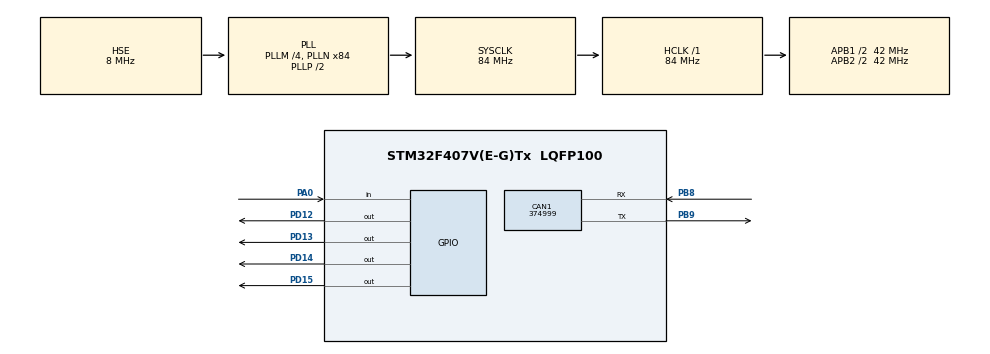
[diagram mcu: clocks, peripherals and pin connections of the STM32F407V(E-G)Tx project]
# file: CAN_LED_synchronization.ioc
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CAN1.BS1=CAN_BS1_4TQ
CAN1.BS2=CAN_BS2_2TQ
CAN1.CalculateBaudRate=374999
CAN1.CalculateTimeBit=2666
CAN1.CalculateTimeQuantum=380.95238095238096
Mcu.Family=STM32F4
Mcu.Name=STM32F407V(E-G)Tx
Mcu.Package=LQFP100
NVIC.CAN1_RX0_IRQn=true\:0\:0\:false\:false\:true\:true\:true\:true
NVIC.PriorityGroup=NVIC_PRIORITYGROUP_0
PA0-WKUP.Signal=GPIO_Input
PB8.Mode=CAN_Activate
PB8.Signal=CAN1_RX
PB9.Mode=CAN_Activate
PB9.Signal=CAN1_TX
PD12.Signal=GPIO_Output
PD13.Signal=GPIO_Output
PD14.Signal=GPIO_Output
PD15.Signal=GPIO_Output
PH0-OSC_IN.Mode=HSE-External-Oscillator
PH0-OSC_IN.Signal=RCC_OSC_IN
PH1-OSC_OUT.Mode=HSE-External-Oscillator
PH1-OSC_OUT.Signal=RCC_OSC_OUT
ProjectManager.HeapSize=0x200
ProjectManager.StackSize=0x400
ProjectManager.TargetToolchain=MDK-ARM V5
RCC.48MHZClocksFreq_Value=24000000
RCC.AHBFreq_Value=84000000
RCC.APB1CLKDivider=RCC_HCLK_DIV2
RCC.APB1Freq_Value=42000000
RCC.APB1TimFreq_Value=84000000
RCC.APB2CLKDivider=RCC_HCLK_DIV2
RCC.APB2Freq_Value=42000000
RCC.APB2TimFreq_Value=84000000
RCC.CortexFreq_Value=84000000
RCC.HCLKFreq_Value=84000000
RCC.HSE_VALUE=8000000
RCC.HSI_VALUE=16000000
RCC.PLLM=4
RCC.PLLN=84
RCC.PLLQ=7
RCC.PLLSourceVirtual=RCC_PLLSOURCE_HSE
RCC.SYSCLKFreq_VALUE=84000000
RCC.SYSCLKSource=RCC_SYSCLKSOURCE_PLLCLK
RCC.VCOOutputFreq_Value=168000000
board=STM32F407G-DISC1

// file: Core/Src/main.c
/* USER CODE BEGIN Header */
/**
  ******************************************************************************
  * @file           : main.c
  * @brief          : Main program body
  ******************************************************************************
  * @attention
  *
  * Copyright (c) 2025 STMicroelectronics.
  * All rights reserved.
  *
  * This software is licensed under terms that can be found in the LICENSE file
  * in the root directory of this software component.
  * If no LICENSE file comes with this software, it is provided AS-IS.
  *
  ******************************************************************************
  */
/* USER CODE END Header */
#include "main.h"
#include "stm32f4xx_hal.h"

CAN_HandleTypeDef hcan1;

/* USER CODE BEGIN PV */
/* Private variables ---------------------------------------------------------*/
// NEW: Updated Tx and Rx structures for newer HAL
static CAN_TxHeaderTypeDef TxHeader;
static CAN_RxHeaderTypeDef RxHeader;
static uint8_t TxData[8];
static uint8_t RxData[8];

//Own and Remote IDs
uint16_t OwnID = 0x123;
uint16_t RemoteID = 0x124;

uint8_t myLEDVar = 0;
/* USER CODE END PV */

void SystemClock_Config(void);
static void MX_GPIO_Init(void);
static void MX_CAN1_Init(void);

/* USER CODE BEGIN PFP */
/* Private function prototypes -----------------------------------------------*/
void CAN_filterConfig(void);
void LED_Switch(uint8_t led);
/* USER CODE END PFP */

int main(void)
{

  /* MCU Configuration----------------------------------------------------------*/

  /* Reset of all peripherals, Initializes the Flash interface and the Systick. */
  HAL_Init();

  /* Configure the system clock */
  SystemClock_Config();

  /* Initialize all configured peripherals */
  MX_GPIO_Init();
  MX_CAN1_Init();

  /* USER CODE BEGIN 2 */
	//Filter Config
	CAN_filterConfig();

	// NEW: Start CAN and enable interrupts (replaces HAL_CAN_Receive_IT)
	HAL_CAN_Start(&hcan1);
	HAL_CAN_ActivateNotification(&hcan1, CAN_IT_RX_FIFO0_MSG_PENDING);

	// NEW: Configure transmit header (replaces pTxMsg assignments)
	TxHeader.StdId = OwnID;
	TxHeader.ExtId = 0;
	TxHeader.RTR = CAN_RTR_DATA;
	TxHeader.IDE = CAN_ID_STD;
	TxHeader.DLC = 2;
	TxHeader.TransmitGlobalTime = DISABLE;

  /* USER CODE END 2 */

  /* Infinite loop */
  while (1)
  {

  /* USER CODE BEGIN 3 */
		if(HAL_GPIO_ReadPin(GPIOA, GPIO_PIN_0) == GPIO_PIN_SET)
		{
			//Transmit CAN packet
			if(myLEDVar == 4) myLEDVar=0;
			LED_Switch(++myLEDVar);

			// NEW: Prepare data and transmit using new API
			TxData[0] = myLEDVar;
			TxData[1] = 0x12;

			uint32_t TxMailbox;
			HAL_CAN_AddTxMessage(&hcan1, &TxHeader, TxData, &TxMailbox);

			HAL_Delay(200);
		}

  }
  /* USER CODE END 3 */

}

/** System Clock Configuration
*/
void SystemClock_Config(void)
{

  RCC_OscInitTypeDef RCC_OscInitStruct;
  RCC_ClkInitTypeDef RCC_ClkInitStruct;

    /**Configure the main internal regulator output voltage
    */
  __HAL_RCC_PWR_CLK_ENABLE();

  __HAL_PWR_VOLTAGESCALING_CONFIG(PWR_REGULATOR_VOLTAGE_SCALE1);

    /**Initializes the CPU, AHB and APB busses clocks
    */
  RCC_OscInitStruct.OscillatorType = RCC_OSCILLATORTYPE_HSE;
  RCC_OscInitStruct.HSEState = RCC_HSE_ON;
  RCC_OscInitStruct.PLL.PLLState = RCC_PLL_ON;
  RCC_OscInitStruct.PLL.PLLSource = RCC_PLLSOURCE_HSE;
  RCC_OscInitStruct.PLL.PLLM = 4;
  RCC_OscInitStruct.PLL.PLLN = 84;
  RCC_OscInitStruct.PLL.PLLP = RCC_PLLP_DIV2;
  RCC_OscInitStruct.PLL.PLLQ = 7;
  if (HAL_RCC_OscConfig(&RCC_OscInitStruct) != HAL_OK)
  {
    Error_Handler();
  }

    /**Initializes the CPU, AHB and APB busses clocks
    */
  RCC_ClkInitStruct.ClockType = RCC_CLOCKTYPE_HCLK|RCC_CLOCKTYPE_SYSCLK
                              |RCC_CLOCKTYPE_PCLK1|RCC_CLOCKTYPE_PCLK2;
  RCC_ClkInitStruct.SYSCLKSource = RCC_SYSCLKSOURCE_PLLCLK;
  RCC_ClkInitStruct.AHBCLKDivider = RCC_SYSCLK_DIV1;
  RCC_ClkInitStruct.APB1CLKDivider = RCC_HCLK_DIV2;
  RCC_ClkInitStruct.APB2CLKDivider = RCC_HCLK_DIV2;

  if (HAL_RCC_ClockConfig(&RCC_ClkInitStruct, FLASH_LATENCY_2) != HAL_OK)
  {
    Error_Handler();
  }

    /**Configure the Systick interrupt time
    */
  HAL_SYSTICK_Config(HAL_RCC_GetHCLKFreq()/1000);

    /**Configure the Systick
    */
  HAL_SYSTICK_CLKSourceConfig(SYSTICK_CLKSOURCE_HCLK);

  /* SysTick_IRQn interrupt configuration */
  HAL_NVIC_SetPriority(SysTick_IRQn, 0, 0);
}

/* CAN1 init function */
static void MX_CAN1_Init(void)
{
  hcan1.Instance = CAN1;
  hcan1.Init.Prescaler = 16;
  hcan1.Init.Mode = CAN_MODE_NORMAL;

  // NEW: Updated bit timing configuration for newer HAL versions
  hcan1.Init.SyncJumpWidth = CAN_SJW_1TQ;
  hcan1.Init.TimeSeg1 = CAN_BS1_4TQ;
  hcan1.Init.TimeSeg2 = CAN_BS2_2TQ;

  hcan1.Init.TimeTriggeredMode = DISABLE;
  hcan1.Init.AutoBusOff = DISABLE;
  hcan1.Init.AutoWakeUp = DISABLE;
  hcan1.Init.AutoRetransmission = DISABLE;
  hcan1.Init.ReceiveFifoLocked = DISABLE;
  hcan1.Init.TransmitFifoPriority = DISABLE;

  if (HAL_CAN_Init(&hcan1) != HAL_OK)
  {
    Error_Handler();
  }
}

/** Configure pins as
        * Analog
        * Input
        * Output
        * EVENT_OUT
        * EXTI
*/
static void MX_GPIO_Init(void)
{

  GPIO_InitTypeDef GPIO_InitStruct;

  /* GPIO Ports Clock Enable */
  __HAL_RCC_GPIOH_CLK_ENABLE();
  __HAL_RCC_GPIOA_CLK_ENABLE();
  __HAL_RCC_GPIOD_CLK_ENABLE();
  __HAL_RCC_GPIOB_CLK_ENABLE();

  /*Configure GPIO pin Output Level */
  HAL_GPIO_WritePin(GPIOD, GPIO_PIN_12|GPIO_PIN_13|GPIO_PIN_14|GPIO_PIN_15, GPIO_PIN_RESET);

  /*Configure GPIO pin : PA0 */
  GPIO_InitStruct.Pin = GPIO_PIN_0;
  GPIO_InitStruct.Mode = GPIO_MODE_INPUT;
  GPIO_InitStruct.Pull = GPIO_NOPULL;
  HAL_GPIO_Init(GPIOA, &GPIO_InitStruct);

  /*Configure GPIO pins : PD12 PD13 PD14 PD15 */
  GPIO_InitStruct.Pin = GPIO_PIN_12|GPIO_PIN_13|GPIO_PIN_14|GPIO_PIN_15;
  GPIO_InitStruct.Mode = GPIO_MODE_OUTPUT_PP;
  GPIO_InitStruct.Pull = GPIO_NOPULL;
  GPIO_InitStruct.Speed = GPIO_SPEED_FREQ_LOW;
  HAL_GPIO_Init(GPIOD, &GPIO_InitStruct);

}

/* USER CODE BEGIN 4 */
void CAN_filterConfig(void)
{
    // NEW: Updated filter configuration for newer HAL
    CAN_FilterTypeDef filterConfig;

    filterConfig.FilterBank = 0;
    filterConfig.FilterMode = CAN_FILTERMODE_IDMASK;
    filterConfig.FilterScale = CAN_FILTERSCALE_32BIT;
    filterConfig.FilterIdHigh = 0x125 << 5;
    filterConfig.FilterIdLow = 0x0000;
    filterConfig.FilterMaskIdHigh = 0xFFE0;
    filterConfig.FilterMaskIdLow = 0x0000;
    filterConfig.FilterFIFOAssignment = CAN_RX_FIFO0;
    filterConfig.FilterActivation = ENABLE;
    filterConfig.SlaveStartFilterBank = 14;

    HAL_CAN_ConfigFilter(&hcan1, &filterConfig);
}

void LED_Switch(uint8_t led)
{
	/* Turn off all LEDs */
	HAL_GPIO_WritePin(GPIOD, GPIO_PIN_12, GPIO_PIN_RESET);
	HAL_GPIO_WritePin(GPIOD, GPIO_PIN_13, GPIO_PIN_RESET);
	HAL_GPIO_WritePin(GPIOD, GPIO_PIN_14, GPIO_PIN_RESET);
	HAL_GPIO_WritePin(GPIOD, GPIO_PIN_15, GPIO_PIN_RESET);
	  switch(led)
  {
    case(1):
      HAL_GPIO_WritePin(GPIOD, GPIO_PIN_12, GPIO_PIN_SET);
      break;

    case(2):
      HAL_GPIO_WritePin(GPIOD, GPIO_PIN_13, GPIO_PIN_SET);
      break;

    case(3):
      HAL_GPIO_WritePin(GPIOD, GPIO_PIN_14, GPIO_PIN_SET);
      break;

    case(4):
      HAL_GPIO_WritePin(GPIOD, GPIO_PIN_15, GPIO_PIN_SET);
      break;

    default:
      break;
  }
}

// NEW: Updated callback function for newer HAL
void HAL_CAN_RxFifo0MsgPendingCallback(CAN_HandleTypeDef *hcan)
{
    // NEW: Read the received message using new API
    if (HAL_CAN_GetRxMessage(hcan, CAN_RX_FIFO0, &RxHeader, RxData) == HAL_OK)
    {
        if (RxHeader.StdId == RemoteID)
        {
            myLEDVar = RxData[0];
            LED_Switch(myLEDVar);
        }
    }
    // NEW: No need to restart reception - it's automatic with ActivateNotification
}
/* USER CODE END 4 */

void Error_Handler(void)
{
  while(1)
  {
  }
}
